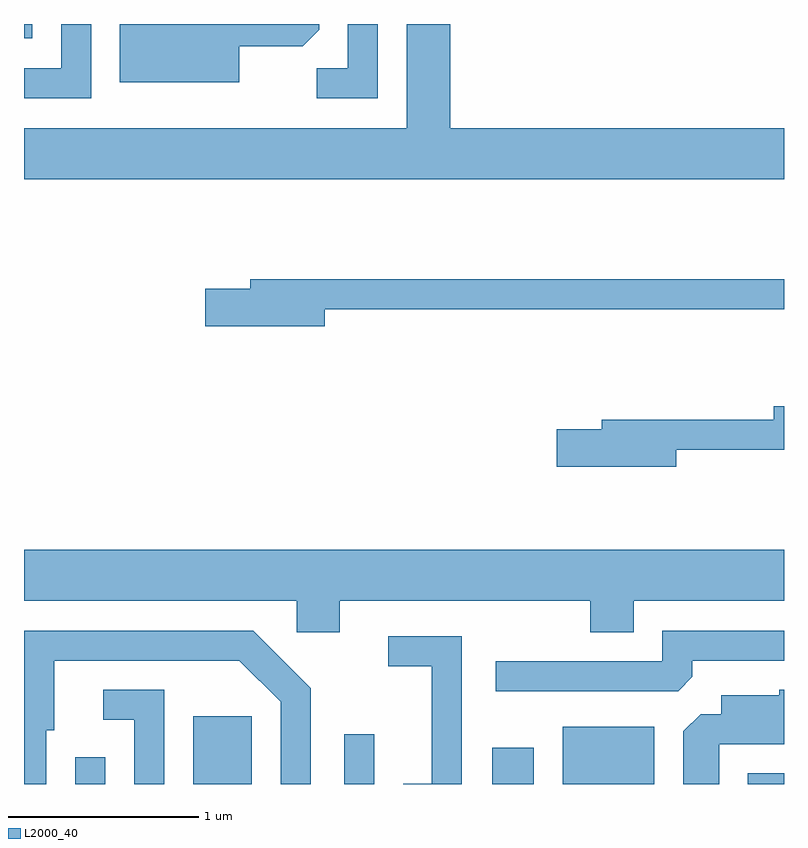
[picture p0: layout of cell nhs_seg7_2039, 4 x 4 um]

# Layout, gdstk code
import gdstk
lib = gdstk.Library(unit=1e-6, precision=1e-09)
def R(c, l, rs):  # rectangles x0, y0, x1, y1
    for r in rs: c.add(gdstk.rectangle(r[:2], r[2:], *l))
def P(c, l, *ps):  # polygons
    for p in ps: c.add(gdstk.Polygon(p, *l))
L2000_40 = (2000, 40)

nhs_seg7_2039 = lib.new_cell('nhs_seg7_2039')
R(nhs_seg7_2039, L2000_40, [(247.881,1702.252,248.039,1702.393), (248.501,1702.252,248.809,1702.609), (249.296,1702.252,249.454,1702.513), (250.076,1702.252,250.294,1702.444), (250.446,1702.252,250.929,1702.554), (251.421,1702.252,251.611,1702.309), (247.611,1706.176,247.654,1706.252)])
P(nhs_seg7_2039, L2000_40, [(248.744,1706.136),(249.079,1706.136),(249.164,1706.222),(249.164,1706.252),(248.116,1706.252),(248.116,1705.946),(248.744,1705.946)],
  [(249.474,1706.252),(249.316,1706.252),(249.316,1706.019),(249.153,1706.019),(249.153,1705.861),(249.474,1705.861)],
  [(247.964,1706.252),(247.806,1706.252),(247.806,1706.019),(247.611,1706.019),(247.611,1705.861),(247.964,1705.861)],
  [(251.611,1705.704),(249.854,1705.704),(249.854,1706.252),(249.626,1706.252),(249.626,1705.704),(247.611,1705.704),(247.611,1705.436),(251.611,1705.436)],
  [(249.194,1704.751),(251.611,1704.751),(251.611,1704.909),(248.801,1704.909),(248.801,1704.859),(248.566,1704.859),(248.566,1704.661),(249.194,1704.661)],
  [(251.044,1704.011),(251.611,1704.011),(251.611,1704.239),(251.556,1704.239),(251.556,1704.169),(250.651,1704.169),(250.651,1704.119),(250.416,1704.119),(250.416,1703.921),(251.044,1703.921)],
  [(249.274,1703.216),(250.591,1703.216),(250.591,1703.051),(250.819,1703.051),(250.819,1703.216),(251.611,1703.216),(251.611,1703.484),(247.611,1703.484),(247.611,1703.216),(249.046,1703.216),(249.046,1703.051),(249.274,1703.051)],
  [(247.729,1702.536),(247.769,1702.536),(247.769,1702.901),(248.744,1702.901),(248.961,1702.684),(248.961,1702.252),(249.119,1702.252),(249.119,1702.757),(248.817,1703.059),(247.611,1703.059),(247.611,1702.252),(247.729,1702.252)],
  [(251.129,1702.817),(251.129,1702.901),(251.611,1702.901),(251.611,1703.059),(250.971,1703.059),(250.971,1702.899),(250.093,1702.899),(250.093,1702.741),(251.054,1702.741)],
  [(249.914,1703.029),(249.528,1703.029),(249.528,1702.871),(249.756,1702.871),(249.756,1702.254),(249.606,1702.254),(249.606,1702.252),(249.914,1702.252)],
  [(251.269,1702.461),(251.611,1702.461),(251.611,1702.749),(251.586,1702.749),(251.586,1702.719),(251.281,1702.719),(251.281,1702.619),(251.172,1702.619),(251.081,1702.529),(251.081,1702.252),(251.269,1702.252)],
  [(248.349,1702.749),(248.028,1702.749),(248.028,1702.591),(248.191,1702.591),(248.191,1702.252),(248.349,1702.252)])

lib.write_gds('nhs_seg7_2039.gds')
